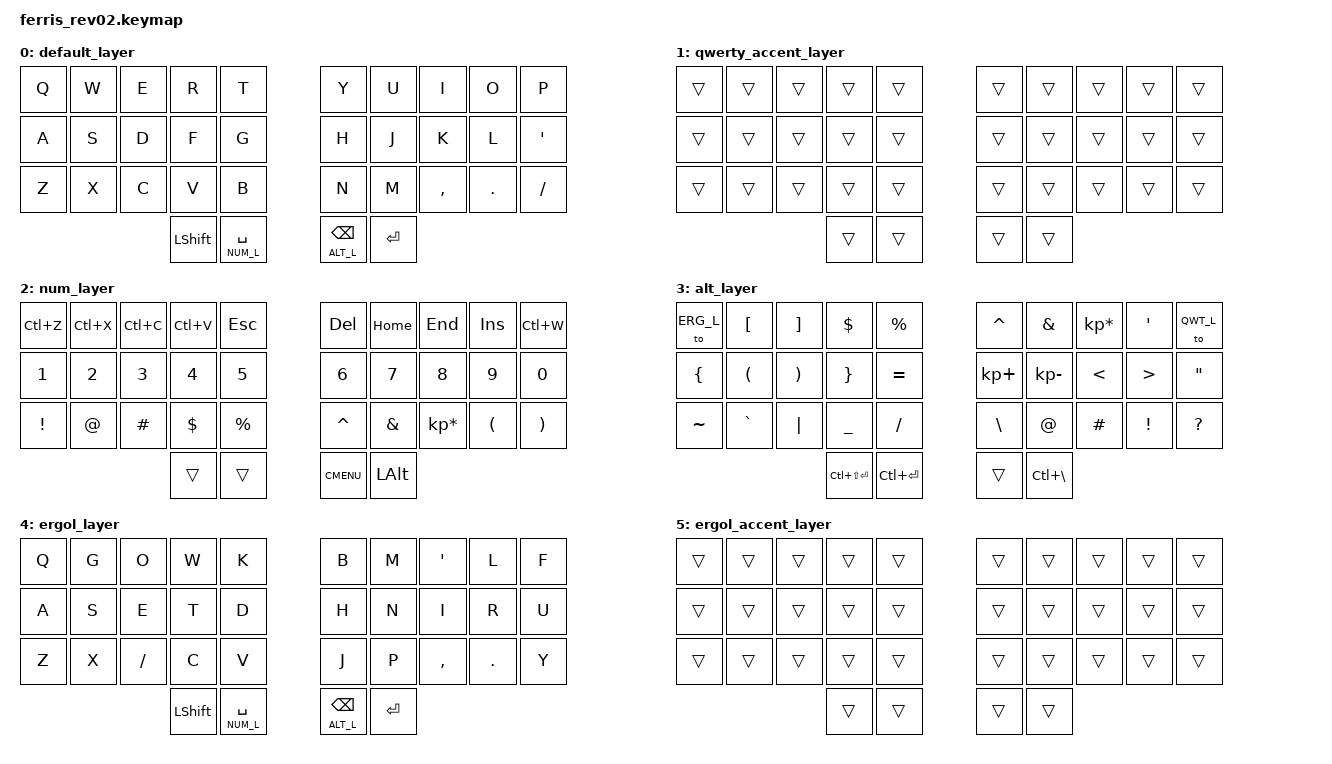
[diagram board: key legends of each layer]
/*
 * Copyright (c) 2020 The ZMK Contributors
 *
 * SPDX-License-Identifier: MIT
 */

#include <behaviors.dtsi>
#include <dt-bindings/zmk/keys.h>
#include <dt-bindings/zmk/bt.h>

#define QWT_L 0 // QWERTY Lafayette
#define QAC_L 1 // QWERTY Lafayette accents and diacritics
#define NUM_L 2 // Numbers
#define ALT_L 3 // Alt-Gr
#define ERG_L 4 // ERGO-L
#define EAC_L 5 // ERGO-L accents and diacritics

// Using layer taps on thumbs, having quick tap as well helps w/ repeating space/backspace
&lt { quick_tap_ms = <200>; };

/ {
    behaviors {
        hm: homerow_mods {
            compatible = "zmk,behavior-hold-tap";
            label = "homerow mods";
            #binding-cells = <2>;
            tapping_term_ms = <200>;
            flavor = "tap-preferred";
            bindings = <&kp>, <&kp>;
        };
    };

    keymap {
        compatible = "zmk,keymap";

// |        Key definition                                                   <<<
// =============================================================================

        // |            Alphas                                               <<<
        //======================================================================
        #define ___A___ &kp A           // A
        #define ___B___ &kp B           // B
        #define ___C___ &kp C           // C
        #define ___D___ &kp D           // D
        #define ___E___ &kp E           // E
        #define ___F___ &kp F           // F
        #define ___G___ &kp G           // G
        #define ___H___ &kp H           // H
        #define ___I___ &kp I           // I
        #define ___J___ &kp J           // J
        #define ___K___ &kp K           // K
        #define ___L___ &kp L           // L
        #define ___M___ &kp M           // M
        #define ___N___ &kp N           // N
        #define ___O___ &kp O           // O
        #define ___P___ &kp P           // P
        #define ___Q___ &kp Q           // Q
        #define ___R___ &kp R           // R
        #define ___S___ &kp S           // S
        #define ___T___ &kp T           // T
        #define ___U___ &kp U           // U
        #define ___V___ &kp V           // V
        #define ___W___ &kp W           // W
        #define ___X___ &kp X           // X
        #define ___Y___ &kp Y           // Y
        #define ___Z___ &kp Z           // Z
        // >>>

        // |            Numbers                                              <<<
        //======================================================================
        #define ___1___ &kp N1          // 1
        #define ___2___ &kp N2          // 2
        #define ___3___ &kp N3          // 3
        #define ___4___ &kp N4          // 4
        #define ___5___ &kp N5          // 5
        #define ___6___ &kp N6          // 6
        #define ___7___ &kp N7          // 7
        #define ___8___ &kp N8          // 8
        #define ___9___ &kp N9          // 9
        #define ___0___ &kp N0          // 0
        // >>>

        // |            Symbols                                              <<<
        //======================================================================
        #define _GRAVE_ &kp GRAVE       // `
        #define _TILDE_ &kp TILDE       // ~
        #define _EXCLN_ &kp EXCL        // !
        #define __AT___ &kp AT          // @
        #define _HASH__ &kp HASH        // #
        #define _DOLAR_ &kp DLLR        // $
        #define _PRCNT_ &kp PRCNT       // %
        #define _CARET_ &kp CARET       // ^
        #define _AMPS__ &kp AMPS        // &
        #define _STAR__ &kp KP_MULTIPLY // *
        #define _L_PAR_ &kp LPAR        // (
        #define _R_PAR_ &kp RPAR        // )
        #define _MINUS_ &kp KP_MINUS    // -
        #define _UNDER_ &kp UNDER       // _
        #define _EQUAL_ &kp EQUAL       // =
        #define _PLUS__ &kp KP_PLUS     // +
        #define _SLASH_ &kp FSLH        // /
        #define _QMARK_ &kp QMARK       // ?
        #define _L_BKT_ &kp LBKT        // [
        #define _L_BRC_ &kp LBRC        // {
        #define _R_BKT_ &kp RBKT        // ]
        #define _R_BRC_ &kp RBRC        // }
        #define _B_SLH_ &kp BSLH        // backslash
        #define _PIPE__ &kp PIPE        // |
        #define _QUOTE_ &kp SQT         // '"
        #define __L_T__ &kp LT          // <
        #define __G_T__ &kp GT          // >
        #define _D_QOT_ &kp DQT         // "
        #define _COMMA_ &kp COMMA       // FIX: temp to test build
        #define __DOT__ &kp DOT         // FIX: trmp to test build
        // >>>

        // |            Mods                                                 <<<
        //======================================================================
        #define _SPACE_ &lt NUM_L SPACE // Access num_layer by hold and space by tap
        #define _BCSPC_ &lt ALT_L BSPC  // Access alt_layer by hold and bacspcace by tap
        #define _ENTER_ &kp RET         // Return
        #define _SHIFT_ &kp LSHIFT      // Shift
        #define __ESC__ &kp ESC         // Escape
        #define __DEL__ &kp DEL         // Delete
        #define _META__ &kp K_CMENU     // Meta
        #define __ALT__ &kp LALT        // Alt
        #define _QWERT_ &to QWT_L       // Change to Qwerty Lafayette layer
        #define _ERGOL_ &to ERG_L       // Change to Ergo-L layer
        #define _______ &trans          // Use bottom layer
        // >>>

        // |            Navigations                                          <<<
        //======================================================================
        #define _HOME__ &kp HOME        // Home
        #define __END__ &kp END         // End
        #define __INS__ &kp INS         // Inser
        // >>>

        // |            Accents & diacritics                                 <<<
        //======================================================================
        // TODO: Set and rename the diacritics if ZMK supports it and accents
        // #define __à_À__
        // #define __â_Â__
        // #define __æ_Æ__
        // #define __é_É__
        // #define __è_È__
        // #define __ê_Ê__
        // #define __î_Î__
        // #define __ô_Ô__
        // #define __œ_Œ__
        // #define __ù_Ù__
        // #define __û_Û__
        // #define __ç_Ç__
        // #define __ñ_Ñ__
        // #define __ß_ẞ__
        // #define __«_“__
        // #define __»_”__
        // #define ___’___
        // #define ___…___
        // #define __·_•__
        // #define __—_–__
        // #define __µ_º__
        // #define __≠_±__
        // #define __÷_¿__
        // #define __¬_¡__
        // #define ___°___
        // #define ___¶___
        // #define ___§___
        // #define ___¤___
        // #define __£_¢__
        // #define ___¥___
        // #define __€_‰__
        // >>>

        // |            Customs                                              <<<
        //======================================================================
        #define _LOCK__ &kp LC(LS(RET)) // Shift+Meta+Return
        #define _TERM__ &kp LC(RET)     // Meta+Return
        #define __CUT__ &kp LC(X)       // Ctrl+x
        #define _UNDO__ &kp LC(Z)       // Ctrl+z
        #define _REDO__ &kp LC(W)       // Ctrl+w
        #define _COPY__ &kp LC(C)       // Ctrl+c
        #define _PASTE_ &kp LC(V)       // Ctrl+v
        #define _SIGQT_ &kp LC(BSLH)    // Ctrl+\ send a quit signal
        // TODO: Set sticky layer to emulate this customs dead keys
        // https://zmk.dev/docs/behaviors/sticky-layer
        //#define __QAL__                 // Access QWERTY accent layer for next input
        //#define __EAL__                 // Access Ergo-L accent layer for next input
        // TODO: Redifine this keys with Mod-Morph
        // https://zmk.dev/docs/behaviors/mod-morph
        //#define _COMMA_                 // ,;
        //#define __DOT__                 // .:
        //#define _E_CUS_                 // Ergo-L dash and question mark key
        // >>>

// >>>

//                Template keyboard
//                _______  _______  _______  _______  _______    _______  _______  _______  _______  _______
//                _______  _______  _______  _______  _______    _______  _______  _______  _______  _______
//                _______  _______  _______  _______  _______    _______  _______  _______  _______  _______
//                                           _______  _______    _______  _______


        // |        QWERTY Lafayette                                         <<<
        //======================================================================
        default_layer {
            bindings = <
                ___Q___  ___W___  ___E___  ___R___  ___T___    ___Y___  ___U___  ___I___  ___O___  ___P___
                ___A___  ___S___  ___D___  ___F___  ___G___    ___H___  ___J___  ___K___  ___L___  _QUOTE_ // need to be __QAL__ but not yet implemented
                ___Z___  ___X___  ___C___  ___V___  ___B___    ___N___  ___M___  _COMMA_  __DOT__  _SLASH_
                                           _SHIFT_  _SPACE_    _BCSPC_  _ENTER_
            >;
        };

        // >>>

        // |        Accents and diacritics for QWERTY Lafayette              <<<
        //======================================================================
        qwerty_accent_layer {
            bindings = <
                _______  _______  _______  _______  _______    _______  _______  _______  _______  _______
                _______  _______  _______  _______  _______    _______  _______  _______  _______  _______
                _______  _______  _______  _______  _______    _______  _______  _______  _______  _______
                                           _______  _______    _______  _______
                // TODO: Rename in definition and define it on top
                //__æ_Æ__  __é_É__  __è_È__  __ê_Ê__  __«_“__    __»_”__  __ù_Ù__  __î_Î__  __œ_Œ__  __ô_Ô__
                //__à_À__  __ß_ẞ__  __≠_±__  __¬_¡__  __—_–__    ___°___  __û_Û__  ___¶___  ___§___  _GRAVE_
                //__â_Â__  ___¤___  __ç_Ç__  __£_¢__  ___¥___    __ñ_Ñ__  __µ_º__  __·_•__  ___…___  __÷_¿__
                //                           _______  ___’___    __€_‰__  _______
            >;
        };

        // >>>

        // |        Number row and some mods                                 <<<
        //======================================================================
        num_layer {
            bindings = <
                _UNDO__  __CUT__  _COPY__  _PASTE_  __ESC__    __DEL__  _HOME__  __END__  __INS__  _REDO__
                ___1___  ___2___  ___3___  ___4___  ___5___    ___6___  ___7___  ___8___  ___9___  ___0___
                _EXCLN_  __AT___  _HASH__  _DOLAR_  _PRCNT_    _CARET_  _AMPS__  _STAR__  _L_PAR_  _R_PAR_
                                           _______  _______    _META__  __ALT__
            >;
        };

        // >>>

        // |        Alt-Gr                                                   <<<
        //======================================================================
        alt_layer {
            bindings = <
                _ERGOL_  _L_BKT_  _R_BKT_  _DOLAR_  _PRCNT_    _CARET_  _AMPS__  _STAR__  _QUOTE_  _QWERT_
                _L_BRC_  _L_PAR_  _R_PAR_  _R_BRC_  _EQUAL_    _PLUS__  _MINUS_  __L_T__  __G_T__  _D_QOT_
                _TILDE_  _GRAVE_  _PIPE__  _UNDER_  _SLASH_    _B_SLH_  __AT___  _HASH__  _EXCLN_  _QMARK_
                                           _LOCK__  _TERM__    _______  _SIGQT_
            >;
        };

        // >>>

        // |        ERGO-L                                                   <<<
        //======================================================================
        ergol_layer {
            bindings = <
                ___Q___  ___G___  ___O___  ___W___  ___K___    ___B___  ___M___  _QUOTE_  ___L___  ___F___
                ___A___  ___S___  ___E___  ___T___  ___D___    ___H___  ___N___  ___I___  ___R___  ___U___
                ___Z___  ___X___  _SLASH_  ___C___  ___V___    ___J___  ___P___  _COMMA_  __DOT__  ___Y___
                                           _SHIFT_  _SPACE_    _BCSPC_  _ENTER_
            >;
        };

        // >>>

        // |        Accents and diacritics for ERGO-L                        <<<
        //======================================================================
        ergol_accent_layer {
            bindings = <
                _______  _______  _______  _______  _______    _______  _______  _______  _______  _______
                _______  _______  _______  _______  _______    _______  _______  _______  _______  _______
                _______  _______  _______  _______  _______    _______  _______  _______  _______  _______
                                           _______  _______    _______  _______
                // TODO: Rename in definition and define it on top
                //__æ_Æ__  __¬_¡__  __œ_Œ__  __ô_Ô__  __«_“__    __»_”__  __µ_º__  _GRAVE_  __£_¢__  ___¥___
                //__à_À__  __é_É__  __è_È__  __ê_Ê__  __≠_±__    ___¤___  __ñ_Ñ__  __î_Î__  __û_Û__  __ù_Ù__
                //__â_Â__  __ß_ẞ__  __—_–__  __ç_Ç__  ___§___    ___¶___  ___°___  __·_•__  ___…___  __÷_¿__
                //                           _______  ___’___    __€_‰__  _______
            >;
        };
        // >>>
    };
};
// vim: set fdm=marker fmr=<<<,>>> fdl=0 ft=c:
